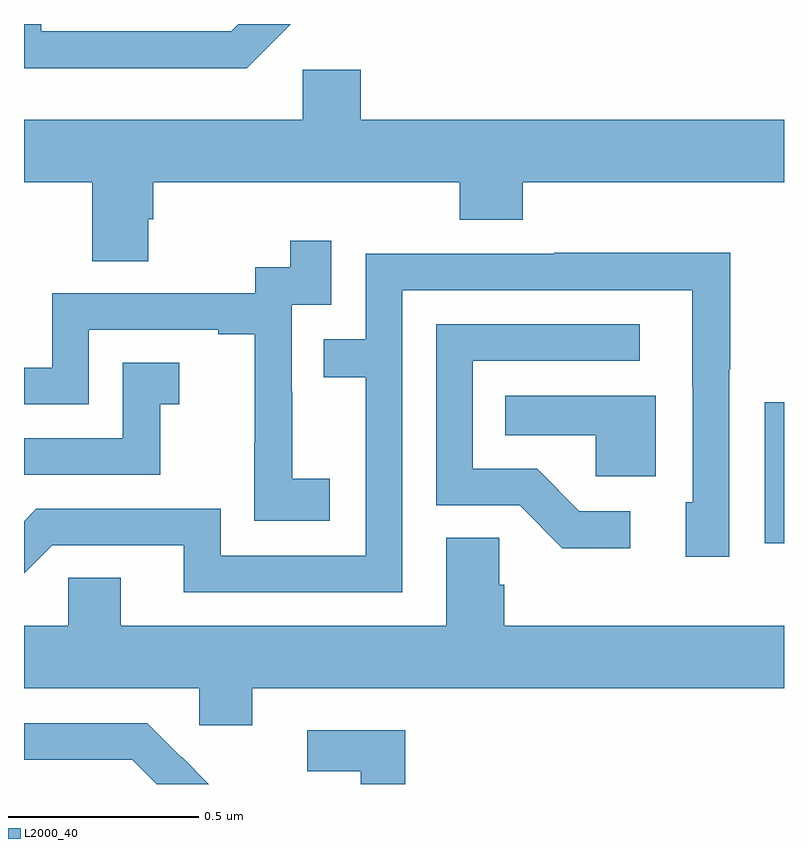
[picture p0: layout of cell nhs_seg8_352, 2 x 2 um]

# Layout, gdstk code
import gdstk
lib = gdstk.Library(unit=1e-6, precision=1e-09)
def R(c, l, rs):  # rectangles x0, y0, x1, y1
    for r in rs: c.add(gdstk.rectangle(r[:2], r[2:], *l))
def P(c, l, *ps):  # polygons
    for p in ps: c.add(gdstk.Polygon(p, *l))
L2000_40 = (2000, 40)

nhs_seg8_352 = lib.new_cell('nhs_seg8_352')
R(nhs_seg8_352, L2000_40, [(116.949,1131.534,117,1131.904)])
P(nhs_seg8_352, L2000_40, [(115.702,1132.9),(115.564,1132.9),(115.545,1132.881),(115.045,1132.881),(115.045,1132.9),(115,1132.9),(115,1132.784),(115.586,1132.784)],
  [(115.327,1132.386),(115.34,1132.386),(115.34,1132.484),(116.147,1132.484),(116.147,1132.385),(116.312,1132.385),(116.312,1132.484),(117,1132.484),(117,1132.648),(115.886,1132.648),(115.886,1132.78),(115.734,1132.78),(115.734,1132.648),(115,1132.648),(115,1132.484),(115.18,1132.484),(115.18,1132.276),(115.327,1132.276)],
  [(115.804,1131.703),(115.706,1131.703),(115.706,1131.932),(115.704,1131.932),(115.704,1132.161),(115.809,1132.161),(115.809,1132.33),(115.701,1132.33),(115.701,1132.26),(115.608,1132.26),(115.608,1132.191),(115.074,1132.191),(115.074,1131.996),(115,1131.996),(115,1131.9),(115.17,1131.9),(115.17,1132.095),(115.511,1132.095),(115.511,1132.083),(115.607,1132.083),(115.607,1131.799),(115.606,1131.799),(115.606,1131.593),(115.804,1131.593)],
  [(115.995,1132.2),(116.759,1132.2),(116.759,1131.946),(116.76,1131.946),(116.76,1131.642),(116.741,1131.642),(116.741,1131.498),(116.856,1131.498),(116.856,1131.991),(116.859,1131.991),(116.859,1132.298),(116.395,1132.298),(116.395,1132.296),(115.899,1132.296),(115.899,1132.071),(115.789,1132.071),(115.789,1131.97),(115.899,1131.97),(115.899,1131.501),(115.518,1131.501),(115.518,1131.624),(115.032,1131.624),(115,1131.592),(115,1131.454),(115.074,1131.528),(115.421,1131.528),(115.421,1131.405),(115.995,1131.405)],
  [(116.596,1131.618),(116.461,1131.618),(116.35,1131.729),(116.181,1131.729),(116.181,1132.014),(116.62,1132.014),(116.62,1132.11),(116.085,1132.11),(116.085,1131.633),(116.304,1131.633),(116.417,1131.521),(116.596,1131.521)],
  [(115.359,1131.899),(115.408,1131.899),(115.408,1132.009),(115.26,1132.009),(115.26,1131.81),(115,1131.81),(115,1131.714),(115.359,1131.714)],
  [(116.662,1131.922),(116.266,1131.922),(116.266,1131.818),(116.505,1131.818),(116.505,1131.71),(116.662,1131.71)],
  [(115.6,1131.152),(117,1131.152),(117,1131.316),(116.264,1131.316),(116.264,1131.425),(116.25,1131.425),(116.25,1131.548),(116.111,1131.548),(116.111,1131.316),(115.255,1131.316),(115.255,1131.443),(115.116,1131.443),(115.116,1131.316),(115,1131.316),(115,1131.152),(115.461,1131.152),(115.461,1131.054),(115.6,1131.054)],
  [(115.416,1130.97),(115.415,1130.969),(115.324,1131.06),(115,1131.06),(115,1130.964),(115.285,1130.964),(115.349,1130.9),(115.486,1130.9)],
  [(116.003,1131.042),(115.746,1131.042),(115.746,1130.934),(115.886,1130.934),(115.886,1130.9),(116.003,1130.9)])

lib.write_gds('nhs_seg8_352.gds')
